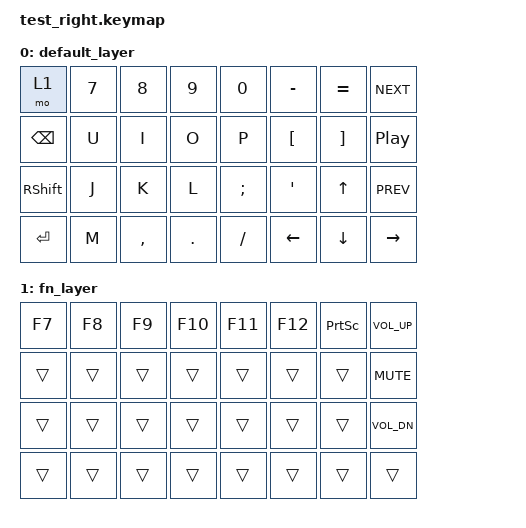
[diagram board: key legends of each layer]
#include <behaviors.dtsi>
#include <dt-bindings/zmk/keys.h>
#include <dt-bindings/zmk/bt.h>


#define m1_d &kp C_NEXT
#define m2_d &kp C_PP
#define m3_d &kp C_PREV

#define m1_fn &kp C_VOL_UP
#define m2_fn &kp C_MUTE
#define m3_fn &kp C_VOL_DN


// inv FSLH not working

/ {
        keymap {
                compatible = "zmk,keymap";

                default_layer {
                        bindings = <
                        &mo 1         &kp N7      &kp N8        &kp N9        &kp N0     &kp MINUS     &kp EQUAL     m1_d
                        &kp BSPC      &kp U       &kp I         &kp O         &kp P      &kp LBKT      &kp RBKT      m2_d
                        &kp RSHIFT    &kp J       &kp K         &kp L         &kp SEMI   &kp SQT       &kp UP        m3_d
                        &kp ENTER     &kp M       &kp COMMA     &kp DOT       &kp FSLH   &kp LEFT      &kp DOWN      &kp RIGHT
                        >;
                };

                fn_layer {
                        bindings = <
                        &kp F7   &kp F8   &kp F9   &kp F10   &kp F11   &kp F12   &kp PSCRN   m1_fn
                        &trans   &trans   &trans   &trans    &trans    &trans    &trans      m2_fn
                        &trans   &trans   &trans   &trans    &trans    &trans    &trans      m3_fn
                        &trans   &trans   &trans   &trans    &trans    &trans    &trans      &trans
                        >;
                };
        };
};
